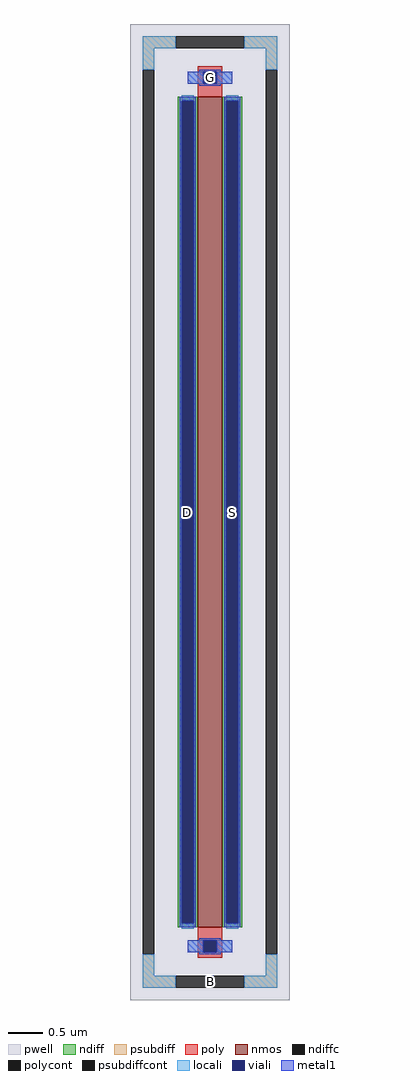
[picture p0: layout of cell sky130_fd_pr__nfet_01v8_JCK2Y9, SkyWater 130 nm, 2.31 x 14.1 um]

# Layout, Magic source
magic
tech sky130A
magscale 1 2
<< pwell >>
rect -231 -1410 231 1410
<< nmos >>
rect -35 -1200 35 1200
<< ndiff >>
rect -93 1188 -35 1200
rect -93 -1188 -81 1188
rect -47 -1188 -35 1188
rect -93 -1200 -35 -1188
rect 35 1188 93 1200
rect 35 -1188 47 1188
rect 81 -1188 93 1188
rect 35 -1200 93 -1188
<< ndiffc >>
rect -81 -1188 -47 1188
rect 47 -1188 81 1188
<< psubdiff >>
rect -195 1340 -99 1374
rect 99 1340 195 1374
rect -195 1278 -161 1340
rect 161 1278 195 1340
rect -195 -1340 -161 -1278
rect 161 -1340 195 -1278
rect -195 -1374 -99 -1340
rect 99 -1374 195 -1340
<< psubdiffcont >>
rect -99 1340 99 1374
rect -195 -1278 -161 1278
rect 161 -1278 195 1278
rect -99 -1374 99 -1340
<< poly >>
rect -35 1272 35 1288
rect -35 1238 -19 1272
rect 19 1238 35 1272
rect -35 1200 35 1238
rect -35 -1238 35 -1200
rect -35 -1272 -19 -1238
rect 19 -1272 35 -1238
rect -35 -1288 35 -1272
<< polycont >>
rect -19 1238 19 1272
rect -19 -1272 19 -1238
<< locali >>
rect -195 1340 -99 1374
rect 99 1340 195 1374
rect -195 1278 -161 1340
rect 161 1278 195 1340
rect -64 1238 -19 1272
rect 19 1238 64 1272
rect -81 1188 -47 1204
rect -81 -1204 -47 -1188
rect 47 1188 81 1204
rect 47 -1204 81 -1188
rect -64 -1272 -19 -1238
rect 19 -1272 64 -1238
rect -195 -1340 -161 -1278
rect 161 -1340 195 -1278
rect -195 -1374 -99 -1340
rect 99 -1374 195 -1340
<< viali >>
rect -19 1238 19 1272
rect -81 -1188 -47 1188
rect 47 -1188 81 1188
rect -19 -1272 19 -1238
<< metal1 >>
rect -31 1272 31 1278
rect -64 1238 -19 1272
rect 19 1238 64 1272
rect -31 1232 31 1238
rect -87 1188 -41 1200
rect -87 -1188 -81 1188
rect -47 -1188 -41 1188
rect -87 -1200 -41 -1188
rect 41 1188 87 1200
rect 41 -1188 47 1188
rect 81 -1188 87 1188
rect 41 -1200 87 -1188
rect -31 -1238 31 -1232
rect -64 -1272 -19 -1238
rect 19 -1272 64 -1238
rect -31 -1278 31 -1272
<< labels >>
rlabel psubdiffcont 0 -1357 0 -1357 0 B
port 1 nsew
rlabel ndiffc -64 0 -64 0 0 D
port 2 nsew
rlabel ndiffc 64 0 64 0 0 S
port 3 nsew
rlabel polycont 0 1255 0 1255 0 G
port 4 nsew
<< properties >>
string FIXED_BBOX -178 -1357 178 1357
string gencell sky130_fd_pr__nfet_01v8
string library sky130
string parameters w 12 l 0.35 m 1 nf 1 diffcov 100 polycov 100 guard 1 glc 1 grc 1 gtc 1 gbc 1 tbcov 100 rlcov 100 topc 1 botc 1 poverlap 0 doverlap 1 lmin 0.15 wmin 0.42 class mosfet compatible {sky130_fd_pr__nfet_01v8 sky130_fd_pr__nfet_01v8_lvt  sky130_fd_bs_flash__special_sonosfet_star  sky130_fd_pr__nfet_g5v0d10v5 sky130_fd_pr__nfet_05v0_nvt  sky130_fd_pr__nfet_03v3_nvt} full_metal 1 conn_gates 1 viasrc 100 viadrn 100 viagate 100 viagb 0 viagr 0 viagl 0 viagt 0 doports 1
<< end >>
